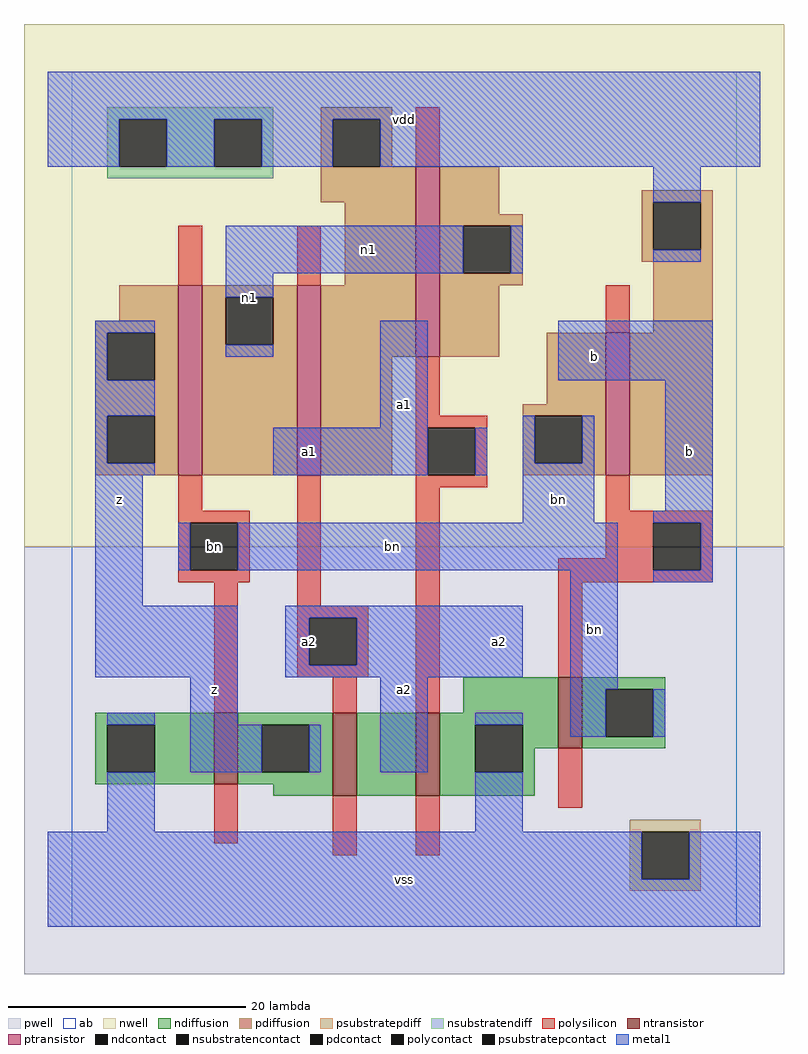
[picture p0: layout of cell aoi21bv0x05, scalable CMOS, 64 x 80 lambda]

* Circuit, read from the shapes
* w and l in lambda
.subckt aoi21bv0x05 a1 a2 b bn n1 vdd vss z
M1 z bn vss vss nfet w=6 l=2
M2 n2 a2 z vss nfet w=7 l=2
M3 vss a1 n2 vss nfet w=7 l=2
M4 bn b vss vss nfet w=6 l=2
M5 n1 bn z vdd pfet w=16 l=2
M6 vdd a2 n1 vdd pfet w=16 l=2
M7 n1 a1 vdd vdd pfet w=16 l=2
M8 vdd b bn vdd pfet w=12 l=2
.ends

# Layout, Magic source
magic
tech scmos
<< ab >>
rect 0 0 56 72
<< pwell >>
rect -4 -4 60 32
<< nwell >>
rect -4 32 60 76
<< polysilicon >>
rect 29 64 31 69
rect 9 54 11 59
rect 19 54 21 59
rect 45 50 47 54
rect 29 43 31 48
rect 29 42 35 43
rect 29 38 30 42
rect 34 38 35 42
rect 9 35 11 38
rect 9 34 15 35
rect 9 30 10 34
rect 14 30 15 34
rect 9 29 15 30
rect 12 18 14 29
rect 19 27 21 38
rect 29 37 35 38
rect 19 26 25 27
rect 19 22 20 26
rect 24 22 25 26
rect 19 21 25 22
rect 22 18 24 21
rect 29 18 31 37
rect 45 35 47 38
rect 45 34 54 35
rect 45 31 49 34
rect 41 30 49 31
rect 53 30 54 34
rect 41 29 54 30
rect 41 21 43 29
rect 12 7 14 12
rect 22 6 24 11
rect 29 6 31 11
rect 41 10 43 15
<< ndiffusion >>
rect 33 18 41 21
rect 2 17 12 18
rect 2 13 3 17
rect 7 13 12 17
rect 2 12 12 13
rect 14 17 22 18
rect 14 13 16 17
rect 20 13 22 17
rect 14 12 22 13
rect 17 11 22 12
rect 24 11 29 18
rect 31 17 41 18
rect 31 13 34 17
rect 38 15 41 17
rect 43 20 50 21
rect 43 16 45 20
rect 49 16 50 20
rect 43 15 50 16
rect 38 13 39 15
rect 31 11 39 13
<< pdiffusion >>
rect 21 68 27 69
rect 21 64 22 68
rect 26 64 27 68
rect 21 61 29 64
rect 23 54 29 61
rect 4 51 9 54
rect 2 50 9 51
rect 2 46 3 50
rect 7 46 9 50
rect 2 43 9 46
rect 2 39 3 43
rect 7 39 9 43
rect 2 38 9 39
rect 11 53 19 54
rect 11 49 13 53
rect 17 49 19 53
rect 11 38 19 49
rect 21 48 29 54
rect 31 60 36 64
rect 48 61 54 62
rect 31 59 38 60
rect 31 55 33 59
rect 37 55 38 59
rect 48 57 49 61
rect 53 57 54 61
rect 48 56 54 57
rect 31 54 38 55
rect 31 48 36 54
rect 49 50 54 56
rect 21 38 27 48
rect 40 44 45 50
rect 38 43 45 44
rect 38 39 39 43
rect 43 39 45 43
rect 38 38 45 39
rect 47 38 54 50
<< metal1 >>
rect -2 68 58 72
rect -2 64 4 68
rect 8 64 12 68
rect 16 64 22 68
rect 26 64 58 68
rect 49 61 53 64
rect 13 55 33 59
rect 37 55 38 59
rect 49 56 53 57
rect 13 53 17 55
rect 2 50 7 51
rect 2 46 3 50
rect 13 48 17 49
rect 2 43 7 46
rect 2 39 3 43
rect 26 42 30 51
rect 41 46 54 51
rect 2 38 7 39
rect 17 38 30 42
rect 34 38 35 42
rect 38 39 39 43
rect 43 39 44 43
rect 2 27 6 38
rect 38 34 44 39
rect 50 35 54 46
rect 49 34 54 35
rect 9 30 10 34
rect 14 30 46 34
rect 2 21 14 27
rect 18 26 38 27
rect 18 22 20 26
rect 24 22 38 26
rect 18 21 38 22
rect 3 17 7 18
rect 10 17 14 21
rect 10 13 16 17
rect 20 13 21 17
rect 26 13 30 21
rect 42 20 46 30
rect 53 30 54 34
rect 49 29 54 30
rect 34 17 38 18
rect 42 16 45 20
rect 49 16 50 20
rect 3 8 7 13
rect 34 8 38 13
rect -2 4 48 8
rect 52 4 58 8
rect -2 0 58 4
<< ntransistor >>
rect 12 12 14 18
rect 22 11 24 18
rect 29 11 31 18
rect 41 15 43 21
<< ptransistor >>
rect 9 38 11 54
rect 19 38 21 54
rect 29 48 31 64
rect 45 38 47 50
<< polycontact >>
rect 30 38 34 42
rect 10 30 14 34
rect 20 22 24 26
rect 49 30 53 34
<< ndcontact >>
rect 3 13 7 17
rect 16 13 20 17
rect 34 13 38 17
rect 45 16 49 20
<< pdcontact >>
rect 22 64 26 68
rect 3 46 7 50
rect 3 39 7 43
rect 13 49 17 53
rect 33 55 37 59
rect 49 57 53 61
rect 39 39 43 43
<< psubstratepcontact >>
rect 48 4 52 8
<< nsubstratencontact >>
rect 4 64 8 68
rect 12 64 16 68
<< psubstratepdiff >>
rect 47 8 53 9
rect 47 4 48 8
rect 52 4 53 8
rect 47 3 53 4
<< nsubstratendiff >>
rect 3 68 17 69
rect 3 64 4 68
rect 8 64 12 68
rect 16 64 17 68
rect 3 63 17 64
<< labels >>
rlabel polycontact 12 32 12 32 6 bn
rlabel metal1 4 36 4 36 6 z
rlabel metal1 12 20 12 20 6 z
rlabel metal1 20 24 20 24 6 a2
rlabel metal1 20 40 20 40 6 a1
rlabel metal1 15 53 15 53 6 n1
rlabel metal1 28 4 28 4 6 vss
rlabel metal1 28 20 28 20 6 a2
rlabel metal1 36 24 36 24 6 a2
rlabel metal1 28 44 28 44 6 a1
rlabel metal1 25 57 25 57 6 n1
rlabel metal1 28 68 28 68 6 vdd
rlabel metal1 44 25 44 25 6 bn
rlabel metal1 27 32 27 32 6 bn
rlabel metal1 52 40 52 40 6 b
rlabel metal1 41 36 41 36 6 bn
rlabel metal1 44 48 44 48 6 b
<< end >>
